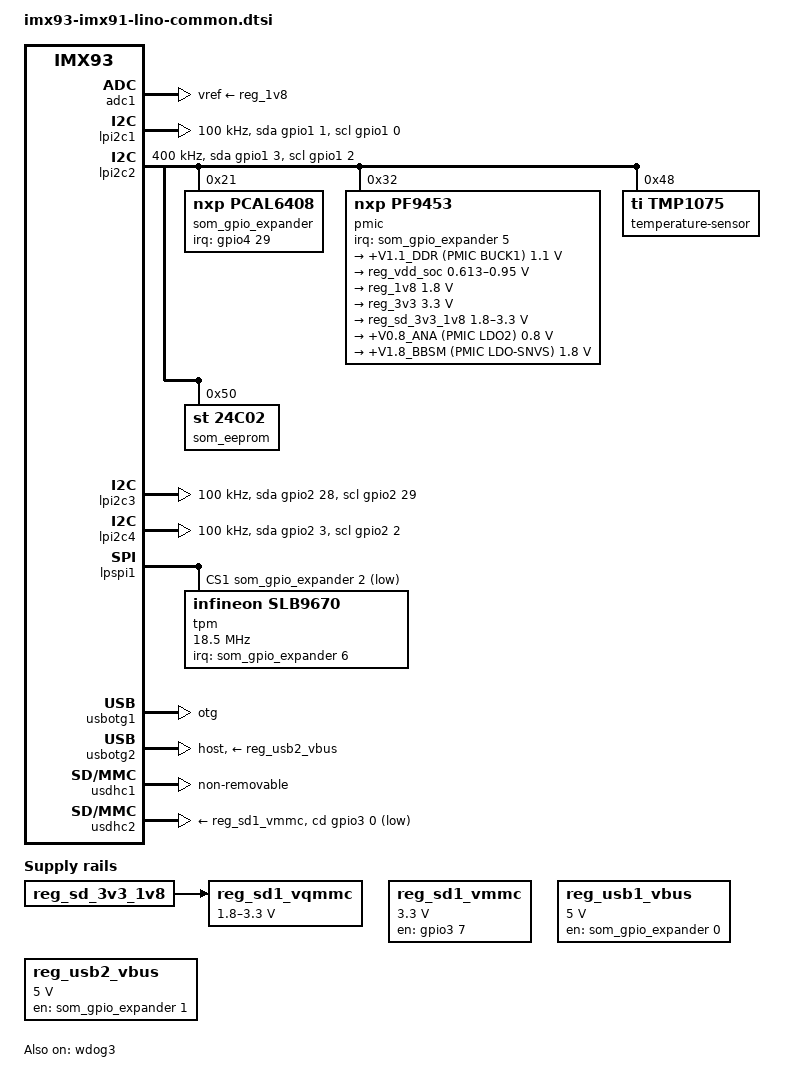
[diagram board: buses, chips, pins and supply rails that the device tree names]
// SPDX-License-Identifier: GPL-2.0-only OR MIT
/*
 * Copyright (c) Toradex
 *
 * Lino iMX93/iMX91 SoM
 *
 * https://www.toradex.com/computer-on-modules/lino-arm-family/nxp-imx93
 * https://www.toradex.com/computer-on-modules/lino-arm-family/nxp-imx91
 */

#include <dt-bindings/gpio/gpio.h>
#include <dt-bindings/interrupt-controller/irq.h>

/ {
	aliases {
		can0 = &flexcan1;
		can1 = &flexcan2;
		eeprom0 = &som_eeprom;
		ethernet0 = &eqos;
		ethernet1 = &fec;
		i2c0 = &lpi2c2;
		i2c1 = &lpi2c1;
		i2c2 = &lpi2c3;
		i2c3 = &lpi2c4;
		mmc0 = &usdhc1;
		mmc1 = &usdhc2;
		mmc2 = &usdhc3;
		serial0 = &lpuart6;
		serial1 = &lpuart7;
		serial2 = &lpuart1;
		serial3 = &lpuart2;
		usb0 = &usbotg1;
		usb1 = &usbotg2;
	};

	chosen {
		stdout-path = &lpuart1;
	};

	/* Lino SD_1 Power Supply */
	reg_sd1_vmmc: regulator-sdhci2-vmmc {
		compatible = "regulator-fixed";
		pinctrl-names = "default";
		pinctrl-0 = <&pinctrl_sd1_pwr_en>;
		/* Lino SD_1_PWR_EN (Lino P72) */
		gpios = <&gpio3 7 GPIO_ACTIVE_HIGH>;
		enable-active-high;
		off-on-delay-us = <100000>;
		regulator-max-microvolt = <3300000>;
		regulator-min-microvolt = <3300000>;
		regulator-name = "+V3.3_SD";
		startup-delay-us = <20000>;
	};

	reg_sd1_vqmmc: regulator-sdhci2-vqmmc {
		compatible = "regulator-gpio";
		pinctrl-names = "default";
		pinctrl-0 = <&pinctrl_sd1_vsel>;
		/* PMIC_SD_2_VSEL */
		gpios = <&gpio3 19 GPIO_ACTIVE_HIGH>;
		regulator-max-microvolt = <3300000>;
		regulator-min-microvolt = <1800000>;
		regulator-name = "LDO1-VSEL-SD (PMIC)";
		states = <1800000 0x1>,
			 <3300000 0x0>;
		vin-supply = <&reg_sd_3v3_1v8>;
	};

	reg_usb1_vbus: regulator-usb1-vbus {
		compatible = "regulator-fixed";
		/* Lino USB_1_EN (P27) */
		gpios = <&som_gpio_expander 0 GPIO_ACTIVE_HIGH>;
		enable-active-high;
		regulator-max-microvolt = <5000000>;
		regulator-min-microvolt = <5000000>;
		regulator-name = "USB_1_EN";
		startup-delay-us = <20000>;
	};

	reg_usb2_vbus: regulator-usb2-vbus {
		compatible = "regulator-fixed";
		/* Lino USB_2_EN (P61) */
		gpios = <&som_gpio_expander 1 GPIO_ACTIVE_HIGH>;
		enable-active-high;
		regulator-max-microvolt = <5000000>;
		regulator-min-microvolt = <5000000>;
		regulator-name = "USB_2_EN";
		startup-delay-us = <20000>;
	};
};

/* Lino ADC_1, ADC_2, ADC_3 and ADC_4 */
&adc1 {
	vref-supply = <&reg_1v8>;
};

/* Lino ETH_1 */
&eqos {
	pinctrl-names = "default";
	pinctrl-0 = <&pinctrl_mdio>, <&pinctrl_eth1>;

	mdio: mdio {
		compatible = "snps,dwmac-mdio";
		#address-cells = <1>;
		#size-cells = <0>;

		status = "disabled";
	};
};

/* Lino ETH_2 */
&fec {
	pinctrl-names = "default";
	pinctrl-0 = <&pinctrl_eth2>;
};

/* Lino CAN_1 */
&flexcan1 {
	pinctrl-names = "default";
	pinctrl-0 = <&pinctrl_can1>;
};

/* Lino CAN_2 */
&flexcan2 {
	pinctrl-names = "default";
	pinctrl-0 = <&pinctrl_can2>;
};

&gpio1 {
	gpio-line-names =
		"LINO_P18",
		"LINO_P16",
		"PMIC_I2C_SCL",
		"PMIC_I2C_SDA",
		"",
		"",
		"",
		"",
		"",
		"",
		"LINO_P65", /* 10 */
		"LINO_S18",
		"LINO_S24",
		"LINO_S20",
		"LINO_S22",
		"";
};

&gpio2 {
	gpio-line-names =
		"LINO_P30",
		"LINO_P32",
		"LINO_P24",
		"LINO_P26",
		"",
		"",
		"",
		"",
		"",
		"",
		"", /* 10 */
		"",
		"LINO_P58",
		"",
		"",
		"",
		"",
		"LINO_P34",
		"",
		"",
		"", /* 20 */
		"",
		"LINO_P36",
		"",
		"LINO_P38",
		"",
		"",
		"",
		"LINO_P20",
		"LINO_P22";
};

&gpio3 {
	gpio-line-names =
		"LINO_P78",
		"",
		"",
		"",
		"",
		"",
		"",
		"LINO_P72",
		"",
		"",
		"", /* 10 */
		"",
		"",
		"",
		"",
		"",
		"",
		"",
		"",
		"PMIC_SD_2_VSEL",
		"", /* 20 */
		"",
		"",
		"",
		"",
		"",
		"LINO_P40",
		"LINO_P42",
		"",
		"",
		"", /* 30 */
		"";
};

&gpio4 {
	gpio-line-names =
		"",
		"",
		"",
		"",
		"",
		"",
		"",
		"",
		"",
		"",
		"", /* 10 */
		"",
		"",
		"",
		"LINO_P46",
		"LINO_P48",
		"",
		"",
		"",
		"",
		"", /* 20 */
		"",
		"",
		"",
		"",
		"",
		"",
		"",
		"LINO_P44",
		"GPIO_EXP_INT#";
};

/* Lino I2C_1 */
&lpi2c1 {
	pinctrl-names = "default", "gpio";
	pinctrl-0 = <&pinctrl_i2c1>;
	pinctrl-1 = <&pinctrl_i2c1_gpio>;
	clock-frequency = <100000>;
	scl-gpios = <&gpio1 0 (GPIO_ACTIVE_HIGH | GPIO_OPEN_DRAIN)>;
	sda-gpios = <&gpio1 1 (GPIO_ACTIVE_HIGH | GPIO_OPEN_DRAIN)>;
	single-master;
};

/* On-module I2C - PMIC_I2C */
&lpi2c2 {
	pinctrl-names = "default", "gpio";
	pinctrl-0 = <&pinctrl_pmic_i2c>;
	pinctrl-1 = <&pinctrl_pmic_i2c_gpio>;
	clock-frequency = <400000>;
	scl-gpios = <&gpio1 2 (GPIO_ACTIVE_HIGH | GPIO_OPEN_DRAIN)>;
	sda-gpios = <&gpio1 3 (GPIO_ACTIVE_HIGH | GPIO_OPEN_DRAIN)>;
	single-master;

	status = "okay";

	som_gpio_expander: gpio@21 {
		compatible = "nxp,pcal6408";
		reg = <0x21>;
		pinctrl-names = "default";
		pinctrl-0 = <&pinctrl_gpio_exp_int>;
		#interrupt-cells = <2>;
		interrupt-controller;
		interrupt-parent = <&gpio4>;
		interrupts = <29 IRQ_TYPE_LEVEL_LOW>;
		#gpio-cells = <2>;
		gpio-controller;
		gpio-line-names =
			"Lino_P27", /* Lino USB_1_EN */
			"Lino_P61", /* Lino USB_2_EN */
			"TPM_SPI_CS#",
			"Lino_P29", /* Lino USB_1_OC# */
			"Lino_P63", /* Lino USB_2_OC# */
			"PMIC_INT#",
			"TPM_IRQ#",
			"Lino_S66";
	};

	pmic@32 {
		compatible = "nxp,pf9453";
		reg = <0x32>;
		interrupt-parent = <&som_gpio_expander>;
		interrupts = <5 IRQ_TYPE_EDGE_FALLING>;

		regulators {
			BUCK1 {
				regulator-always-on;
				regulator-boot-on;
				regulator-max-microvolt = <1100000>;
				regulator-min-microvolt = <1100000>;
				regulator-name = "+V1.1_DDR (PMIC BUCK1)";
			};

			reg_vdd_soc: BUCK2 {
				regulator-always-on;
				regulator-boot-on;
				regulator-max-microvolt = <950000>;
				regulator-min-microvolt = <612500>;
				regulator-name = "+VDD_SOC (PMIC BUCK2)";
				regulator-ramp-delay = <12500>;
			};

			reg_1v8: BUCK3 {
				regulator-always-on;
				regulator-boot-on;
				regulator-max-microvolt = <1800000>;
				regulator-min-microvolt = <1800000>;
				regulator-name = "+V1.8 / +V1.8_ANA (PMIC BUCK3)";
			};

			reg_3v3: BUCK4 {
				regulator-always-on;
				regulator-boot-on;
				regulator-max-microvolt = <3300000>;
				regulator-min-microvolt = <3300000>;
				regulator-name = "+V3.3 (PMIC BUCK4)";
			};

			reg_sd_3v3_1v8: LDO1 {
				regulator-always-on;
				regulator-boot-on;
				regulator-max-microvolt = <3300000>;
				regulator-min-microvolt = <1800000>;
				regulator-name = "+V3.3_1.8_SD (PMIC LDO1)";
			};

			LDO2 {
				regulator-always-on;
				regulator-boot-on;
				regulator-max-microvolt = <800000>;
				regulator-min-microvolt = <800000>;
				regulator-name = "+V0.8_ANA (PMIC LDO2)";
			};

			LDO-SNVS {
				regulator-always-on;
				regulator-boot-on;
				regulator-max-microvolt = <1800000>;
				regulator-min-microvolt = <1800000>;
				regulator-name = "+V1.8_BBSM (PMIC LDO-SNVS)";
			};
		};
	};

	temperature-sensor@48 {
		compatible = "ti,tmp1075";
		reg = <0x48>;
	};

	som_eeprom: eeprom@50 {
		compatible = "st,24c02", "atmel,24c02";
		reg = <0x50>;
		pagesize = <16>;
	};
};

/* Lino I2C_2 */
&lpi2c3 {
	pinctrl-names = "default", "gpio";
	pinctrl-0 = <&pinctrl_i2c2>;
	pinctrl-1 = <&pinctrl_i2c2_gpio>;
	clock-frequency = <100000>;
	scl-gpios = <&gpio2 29 (GPIO_ACTIVE_HIGH | GPIO_OPEN_DRAIN)>;
	sda-gpios = <&gpio2 28 (GPIO_ACTIVE_HIGH | GPIO_OPEN_DRAIN)>;
	single-master;
};

/* Lino I2C_3 */
&lpi2c4 {
	pinctrl-names = "default", "gpio";
	pinctrl-0 = <&pinctrl_i2c3>;
	pinctrl-1 = <&pinctrl_i2c3_gpio>;
	clock-frequency = <100000>;
	scl-gpios = <&gpio2 2 (GPIO_ACTIVE_HIGH | GPIO_OPEN_DRAIN)>;
	sda-gpios = <&gpio2 3 (GPIO_ACTIVE_HIGH | GPIO_OPEN_DRAIN)>;
	single-master;
};

/* Lino SPI_2 */
&lpspi1 {
	pinctrl-names = "default";
	pinctrl-0 = <&pinctrl_spi2>, <&pinctrl_spi2_cs0_gpio>;
	cs-gpios = <&gpio1 11 GPIO_ACTIVE_LOW>, <&som_gpio_expander 2 GPIO_ACTIVE_LOW>;

	status = "okay";

	tpm@1 {
		compatible = "infineon,slb9670", "tcg,tpm_tis-spi";
		reg = <1>;
		interrupt-parent = <&som_gpio_expander>;
		interrupts = <6 IRQ_TYPE_EDGE_FALLING>;
		spi-max-frequency = <18500000>;
	};
};

/* Lino SPI_1 */
&lpspi8 {
	pinctrl-names = "default";
	pinctrl-0 = <&pinctrl_spi1>, <&pinctrl_spi1_cs0_gpio>;
	cs-gpios = <&gpio2 12 GPIO_ACTIVE_LOW>;
};

/* Lino UART_3, used as the Linux Console */
&lpuart1 {
	pinctrl-names = "default";
	pinctrl-0 = <&pinctrl_uart3>;
};

/* Lino UART_4 */
&lpuart2 {
	pinctrl-names = "default";
	pinctrl-0 = <&pinctrl_uart4>;
};

/* Lino UART_1 */
&lpuart6 {
	pinctrl-names = "default";
	pinctrl-0 = <&pinctrl_uart1>;
	uart-has-rtscts;
};

/* Lino UART_2 */
&lpuart7 {
	pinctrl-names = "default";
	pinctrl-0 = <&pinctrl_uart2>;
	uart-has-rtscts;
};

/* Lino I2S_1 */
&sai3 {
	pinctrl-names = "default";
	pinctrl-0 = <&pinctrl_i2s1>;
	assigned-clocks = <&clk IMX93_CLK_SAI3>;
	assigned-clock-parents = <&clk IMX93_CLK_AUDIO_PLL>;
	assigned-clock-rates = <24576000>;
};

/* Lino PWM_1 */
&tpm4 {
	pinctrl-names = "default";
	pinctrl-0 = <&pinctrl_pwm1>;
};

/* Lino PWM_2 */
&tpm5 {
	pinctrl-names = "default";
	pinctrl-0 = <&pinctrl_pwm2>;
};

/* Lino PWM_3 */
&tpm6 {
	pinctrl-names = "default";
	pinctrl-0 = <&pinctrl_pwm3>;
};

/* Lino USB_1 */
&usbotg1 {
	dr_mode = "otg";
	adp-disable;
	hnp-disable;
	srp-disable;
	usb-role-switch;
	disable-over-current;
	role-switch-default-mode = "peripheral";
	samsung,picophy-dc-vol-level-adjust = <7>;
	samsung,picophy-pre-emp-curr-control = <3>;
};

/* Lino USB_2 */
&usbotg2 {
	disable-over-current;
	dr_mode = "host";
	vbus-supply = <&reg_usb2_vbus>;
	samsung,picophy-dc-vol-level-adjust = <7>;
	samsung,picophy-pre-emp-curr-control = <3>;
};

/* On-module eMMC */
&usdhc1 {
	pinctrl-names = "default", "state_100mhz", "state_200mhz";
	pinctrl-0 = <&pinctrl_emmc>;
	pinctrl-1 = <&pinctrl_emmc>;
	pinctrl-2 = <&pinctrl_emmc>;
	no-sd;
	no-sdio;
	non-removable;

	status = "okay";
};

/* Lino SD_1 */
&usdhc2 {
	pinctrl-names = "default", "state_100mhz", "state_200mhz";
	pinctrl-0 = <&pinctrl_sd1>, <&pinctrl_sd1_cd>;
	pinctrl-1 = <&pinctrl_sd1>, <&pinctrl_sd1_cd>;
	pinctrl-2 = <&pinctrl_sd1>, <&pinctrl_sd1_cd>;
	cd-gpios = <&gpio3 0 GPIO_ACTIVE_LOW>;
	disable-wp;
	vmmc-supply = <&reg_sd1_vmmc>;
	vqmmc-supply = <&reg_sd1_vqmmc>;
};

/* Lino SD_2 */
&usdhc3 {
	pinctrl-names = "default", "state_100mhz", "state_200mhz";
	pinctrl-0 = <&pinctrl_sd2>;
	pinctrl-1 = <&pinctrl_sd2>;
	pinctrl-2 = <&pinctrl_sd2>;
};

&wdog3 {
	pinctrl-names = "default";
	pinctrl-0 = <&pinctrl_wdog>;
	fsl,ext-reset-output;

	status = "okay";
};
